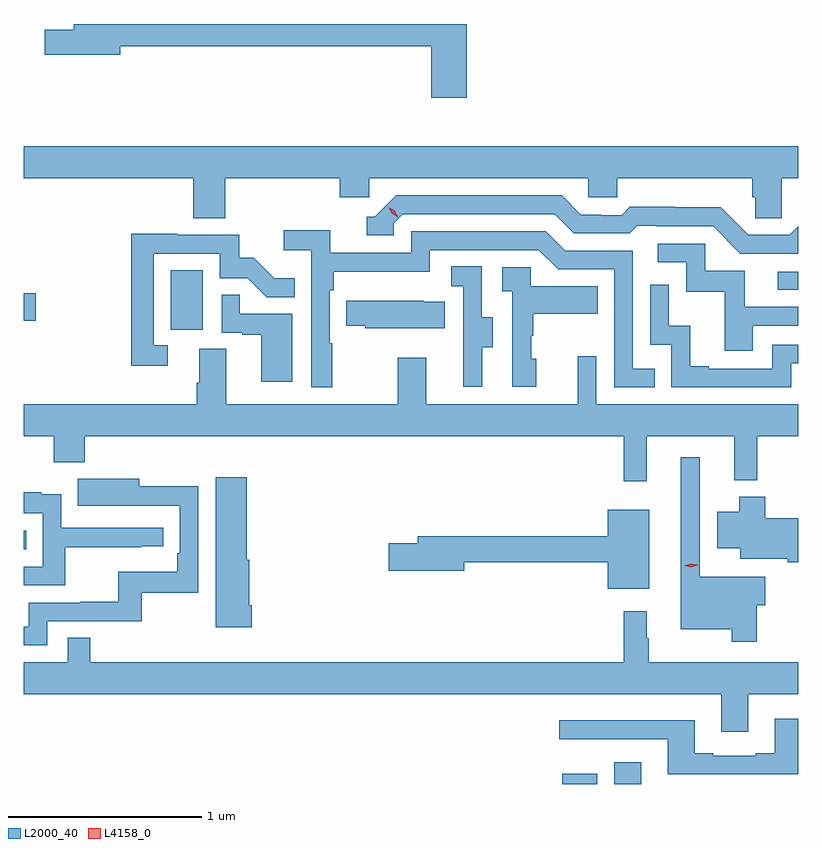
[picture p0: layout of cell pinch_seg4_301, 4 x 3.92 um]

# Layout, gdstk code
import gdstk
lib = gdstk.Library(unit=1e-6, precision=1e-09)
def R(c, l, rs):  # rectangles x0, y0, x1, y1
    for r in rs: c.add(gdstk.rectangle(r[:2], r[2:], *l))
def P(c, l, *ps):  # polygons
    for p in ps: c.add(gdstk.Polygon(p, *l))
L2000_40 = (2000, 40)
L4158_0 = (4158, 0)

pinch_seg4_301 = lib.new_cell('pinch_seg4_301')
R(pinch_seg4_301, L2000_40, [(948.338,793.692,948.517,793.744), (948.605,793.692,948.745,793.804), (945.556,794.904,945.569,795), (946.316,796.038,946.48,796.345), (945.556,796.084,945.619,796.226), (949.449,796.245,949.556,796.338)])
P(pinch_seg4_301, L2000_40, [(947.843,797.616),(945.815,797.616),(945.815,797.587),(945.666,797.587),(945.666,797.458),(946.054,797.458),(946.054,797.5),(947.66,797.5),(947.66,797.235),(947.843,797.235)],
  [(946.598,796.82),(947.189,796.82),(947.189,796.722),(947.34,796.722),(947.34,796.82),(948.471,796.82),(948.471,796.722),(948.621,796.722),(948.621,796.82),(949.319,796.82),(949.319,796.722),(949.333,796.722),(949.333,796.612),(949.47,796.612),(949.47,796.82),(949.556,796.82),(949.556,796.984),(945.556,796.984),(945.556,796.82),(946.433,796.82),(946.433,796.612),(946.598,796.612)],
  [(949.556,796.571),(949.512,796.527),(949.296,796.527),(949.154,796.669),(948.918,796.669),(948.918,796.672),(948.685,796.672),(948.643,796.629),(948.54,796.629),(948.54,796.632),(948.433,796.632),(948.334,796.731),(947.481,796.731),(947.37,796.62),(947.327,796.62),(947.327,796.524),(947.466,796.524),(947.466,796.587),(947.514,796.635),(948.297,796.635),(948.396,796.536),(948.685,796.536),(948.724,796.575),(948.823,796.575),(948.823,796.572),(949.116,796.572),(949.257,796.431),(949.556,796.431)],
  [(947.149,795.968),(947.136,795.968),(947.136,796.241),(947.156,796.241),(947.156,796.337),(947.652,796.337),(947.652,796.449),(948.216,796.449),(948.315,796.35),(948.606,796.35),(948.606,795.741),(948.815,795.741),(948.815,795.837),(948.702,795.837),(948.702,796.446),(948.352,796.446),(948.253,796.545),(947.556,796.545),(947.556,796.434),(947.138,796.434),(947.138,796.55),(946.899,796.55),(946.899,796.448),(947.04,796.448),(947.04,795.741),(947.149,795.741)],
  [(946.3,795.957),(946.227,795.957),(946.227,796.431),(946.569,796.431),(946.569,796.302),(946.713,796.302),(946.811,796.204),(946.955,796.204),(946.955,796.303),(946.851,796.303),(946.744,796.41),(946.668,796.41),(946.668,796.527),(946.349,796.527),(946.349,796.532),(946.111,796.532),(946.111,795.852),(946.3,795.852)],
  [(949.321,796.059),(949.556,796.059),(949.556,796.155),(949.279,796.155),(949.279,796.341),(949.074,796.341),(949.074,796.482),(948.831,796.482),(948.831,796.386),(948.978,796.386),(948.978,796.233),(949.177,796.233),(949.177,795.93),(949.321,795.93)],
  [(947.923,795.946),(947.977,795.946),(947.977,796.101),(947.922,796.101),(947.922,796.364),(947.763,796.364),(947.763,796.261),(947.826,796.261),(947.826,795.957),(947.825,795.957),(947.825,795.744),(947.923,795.744)],
  [(948.202,795.888),(948.177,795.888),(948.177,796.007),(948.187,796.007),(948.187,796.121),(948.521,796.121),(948.521,796.261),(948.174,796.261),(948.174,796.359),(948.027,796.359),(948.027,796.235),(948.078,796.235),(948.078,795.744),(948.202,795.744)],
  [(949.518,795.864),(949.556,795.864),(949.556,795.96),(949.422,795.96),(949.422,795.837),(949.093,795.837),(949.093,795.85),(948.998,795.85),(948.998,796.058),(948.888,796.058),(948.888,796.27),(948.792,796.27),(948.792,795.96),(948.9,795.96),(948.9,795.741),(949.518,795.741)],
  [(946.942,796.119),(946.673,796.119),(946.673,796.217),(946.578,796.217),(946.578,796.023),(946.685,796.023),(946.685,796.011),(946.784,796.011),(946.784,795.768),(946.942,795.768)],
  [(947.729,796.183),(947.621,796.183),(947.621,796.186),(947.221,796.186),(947.221,796.057),(947.319,796.057),(947.319,796.046),(947.729,796.046)],
  [(948.773,795.488),(949.226,795.488),(949.226,795.26),(949.343,795.26),(949.343,795.488),(949.556,795.488),(949.556,795.652),(948.513,795.652),(948.513,795.901),(948.416,795.901),(948.416,795.652),(947.635,795.652),(947.635,795.892),(947.488,795.892),(947.488,795.652),(946.603,795.652),(946.603,795.938),(946.463,795.938),(946.463,795.764),(946.451,795.764),(946.451,795.652),(945.556,795.652),(945.556,795.488),(945.712,795.488),(945.712,795.353),(945.872,795.353),(945.872,795.488),(948.655,795.488),(948.655,795.255),(948.773,795.255)],
  [(949.34,794.614),(949.384,794.614),(949.384,794.761),(949.047,794.761),(949.047,795.379),(948.95,795.379),(948.95,794.492),(949.212,794.492),(949.212,794.427),(949.34,794.427)],
  [(946.733,794.614),(946.72,794.614),(946.72,794.85),(946.708,794.85),(946.708,795.277),(946.547,795.277),(946.547,794.502),(946.733,794.502)],
  [(945.678,794.532),(946.165,794.532),(946.165,794.679),(946.458,794.679),(946.458,795.23),(946.153,795.23),(946.153,795.268),(945.835,795.268),(945.835,795.128),(946.049,795.128),(946.049,795.129),(946.362,795.129),(946.362,794.884),(946.349,794.884),(946.349,794.788),(946.044,794.788),(946.044,794.633),(945.847,794.633),(945.847,794.628),(945.582,794.628),(945.582,794.505),(945.556,794.505),(945.556,794.409),(945.678,794.409)],
  [(945.77,794.914),(946.163,794.914),(946.163,794.919),(946.276,794.919),(946.276,795.015),(945.75,795.015),(945.75,795.187),(945.647,795.187),(945.647,795.199),(945.556,795.199),(945.556,795.09),(945.654,795.09),(945.654,794.814),(945.556,794.814),(945.556,794.718),(945.77,794.718)],
  [(949.556,795.064),(949.385,795.064),(949.385,795.175),(949.25,795.175),(949.25,795.097),(949.136,795.097),(949.136,794.909),(949.256,794.909),(949.256,794.855),(949.502,794.855),(949.502,794.836),(949.556,794.836)],
  [(948.787,795.109),(948.572,795.109),(948.572,794.972),(947.591,794.972),(947.591,794.936),(947.442,794.936),(947.442,794.794),(947.83,794.794),(947.83,794.836),(948.572,794.836),(948.572,794.699),(948.787,794.699)],
  [(949.297,794.156),(949.556,794.156),(949.556,794.32),(948.784,794.32),(948.784,794.444),(948.772,794.444),(948.772,794.584),(948.655,794.584),(948.655,794.32),(945.899,794.32),(945.899,794.447),(945.783,794.447),(945.783,794.32),(945.556,794.32),(945.556,794.156),(949.157,794.156),(949.157,793.962),(949.297,793.962)],
  [(949.556,794.029),(949.433,794.029),(949.433,793.852),(949.337,793.852),(949.337,793.839),(949.117,793.839),(949.117,793.852),(949.021,793.852),(949.021,794.02),(948.321,794.02),(948.321,793.923),(948.881,793.923),(948.881,793.742),(949.556,793.742)])
P(pinch_seg4_301, L4158_0, [(949.002,794.81),(948.966,794.818),(948.966,794.818),(948.966,794.818),(949.001,794.83),(949.037,794.823),(949.037,794.822),(949.037,794.822)],
  [(947.488,796.619),(947.457,796.638),(947.441,796.671),(947.441,796.671),(947.441,796.671),(947.472,796.652),(947.488,796.619),(947.488,796.619)])

lib.write_gds('pinch_seg4_301.gds')
